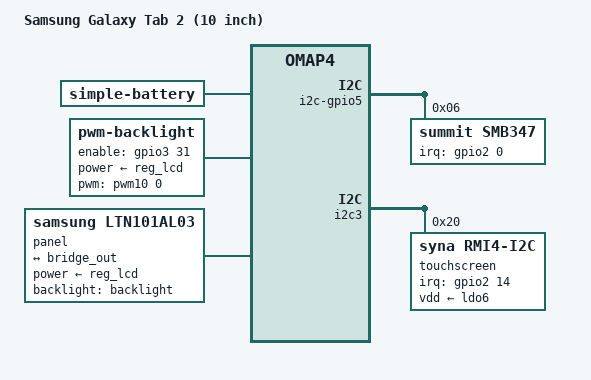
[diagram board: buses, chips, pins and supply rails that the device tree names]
// SPDX-License-Identifier: (GPL-2.0 OR MIT)
/dts-v1/;

#include "omap4-samsung-espresso-common.dtsi"
#include <dt-bindings/power/summit,smb347-charger.h>
/ {
	model = "Samsung Galaxy Tab 2 (10 inch)";
	compatible = "samsung,espresso10", "ti,omap4430", "ti,omap4";

	/* 7000 mAh pack; charge settings as in the vendor kernel */
	battery: battery {
		compatible = "simple-battery";
		device-chemistry = "lithium-ion-polymer";
		charge-full-design-microamp-hours = <7000000>;
		voltage-min-design-microvolt = <3400000>;
		voltage-max-design-microvolt = <4200000>;
		constant-charge-voltage-max-microvolt = <4200000>;
		constant-charge-current-max-microamp = <2200000>;
		precharge-current-microamp = <250000>;
		charge-term-current-microamp = <250000>;
	};

	i2c-gpio5 {
		smb347: charger@6 {
			compatible = "summit,smb347";
			reg = <0x6>; // 0x0C >> 1
			interrupt-parent = <&gpio2>;
			interrupts = <0 IRQ_TYPE_EDGE_BOTH>;

			summit,enable-usb-charging;
			summit,enable-charge-control = <SMB3XX_CHG_ENABLE_SW>;
			summit,chip-temperature-threshold-celsius = <120>;
			summit,usb-current-limit-microamp = <1800000>;
			monitored-battery = <&battery>;
		};
	};

	backlight: backlight {
		compatible = "pwm-backlight";
		pinctrl-names = "default";
		pinctrl-0 = <&backlight_pins>;
		pwms = <&pwm10 0 1600 0>;
		power-supply = <&reg_lcd>;
		enable-gpios = <&gpio3 31 GPIO_ACTIVE_HIGH>;
		brightness-levels = <0 4 8 16 32 64 128 255>;
		default-brightness-level = <7>;
	};

	panel {
		compatible = "samsung,ltn101al03", "panel-lvds";
		power-supply = <&reg_lcd>;
		width-mm = <223>;
		height-mm = <125>;
		data-mapping = "vesa-24";
		backlight = <&backlight>;

		panel-timing {
			clock-frequency = <69818000>;

			hback-porch = <64>;
			hactive = <1280>;
			hfront-porch = <16>;
			hsync-len = <48>;

			vback-porch = <11>;
			vactive = <800>;
			vfront-porch = <16>;
			vsync-len = <3>;

			hsync-active = <0>;
			vsync-active = <0>;
			de-active = <1>;
			pixelclk-active = <1>;
		};

		port {
			panel_in: endpoint {
				remote-endpoint = <&bridge_out>;
			};
		};
	};
};

&i2c3 {
	touchscreen@20 {
		compatible = "syna,rmi4-i2c";
		reg = <0x20>;
		#address-cells = <1>;
		#size-cells = <0>;

		interrupt-parent = <&gpio2>;
		interrupts = <14 IRQ_TYPE_EDGE_FALLING>;

		pinctrl-names = "default";
		pinctrl-0 = <&touch_pins>;

		//avdd-supply = <&reg_touch_ldo_en>;
		vdd-supply = <&ldo6>;

		syna,reset-delay-ms = <200>;
		syna,startup-delay-ms = <200>;

		rmi4-f01@1 {
			reg = <0x01>;
			syna,nosleep-mode = <1>;
		};

		rmi4-f11@11 {
			reg = <0x11>;
			touchscreen-size-x = <1280>;
			touchscreen-size-y = <800>;
			syna,sensor-type = <1>;
		};
	};
};

/* The bootloader's framebuffer is sized for this panel, not the 7" one */
&continuous_splash {
	reg = <0xbef00000 (1280 * 800 * 4)>;
};

&fuel_gauge {
	power-supplies = <&smb347>;
	monitored-battery = <&battery>;
};
